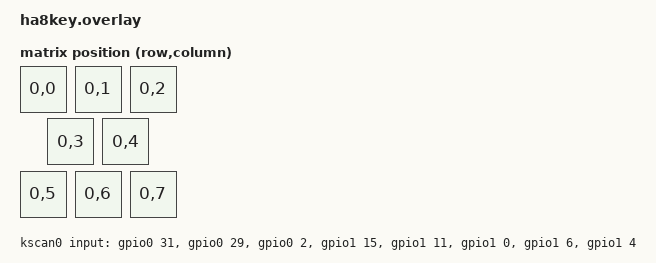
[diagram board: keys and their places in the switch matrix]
#include <dt-bindings/zmk/matrix_transform.h>
#include <dt-bindings/gpio/gpio.h>
#include <physical_layouts.dtsi>

/ {
    chosen {
        zmk,kscan = &kscan0;
        zmk,physical-layout = &ha8key_layout;
    };

    kscan0: kscan {
        compatible = "zmk,kscan-gpio-direct";
        wakeup-source;
        input-gpios
            = <&gpio0 31 (GPIO_ACTIVE_LOW | GPIO_PULL_UP)>
            , <&gpio0 29 (GPIO_ACTIVE_LOW | GPIO_PULL_UP)>
            , <&gpio0 2  (GPIO_ACTIVE_LOW | GPIO_PULL_UP)>
            , <&gpio1 15 (GPIO_ACTIVE_LOW | GPIO_PULL_UP)>
            , <&gpio1 11 (GPIO_ACTIVE_LOW | GPIO_PULL_UP)>
            , <&gpio1 0  (GPIO_ACTIVE_LOW | GPIO_PULL_UP)>
            , <&gpio1 6  (GPIO_ACTIVE_LOW | GPIO_PULL_UP)>
            , <&gpio1 4  (GPIO_ACTIVE_LOW | GPIO_PULL_UP)>
            ;
    };

    default_transform: matrix_transform {
        compatible = "zmk,matrix-transform";
        rows = <1>;
        columns = <8>;
        map = <
RC(0,0) RC(0,1) RC(0,2) RC(0,3)
RC(0,4) RC(0,5) RC(0,6) RC(0,7)
        >;
    };

    ha8key_layout: ha8key_layout {
        compatible = "zmk,physical-layout";
        display-name = "HA 8-Key";
        kscan = <&kscan0>;
        transform = <&default_transform>;
           keys
            = <&key_physical_attrs 100 100   0   0 0 0 0>
            , <&key_physical_attrs 100 100 110   0 0 0 0>
            , <&key_physical_attrs 100 100 220   0 0 0 0>
            , <&key_physical_attrs 100 100  55 105 0 0 0>
            , <&key_physical_attrs 100 100 165 105 0 0 0>
            , <&key_physical_attrs 100 100   0 210 0 0 0>
            , <&key_physical_attrs 100 100 110 210 0 0 0>
            , <&key_physical_attrs 100 100 220 210 0 0 0>
            ;         
    };
};
